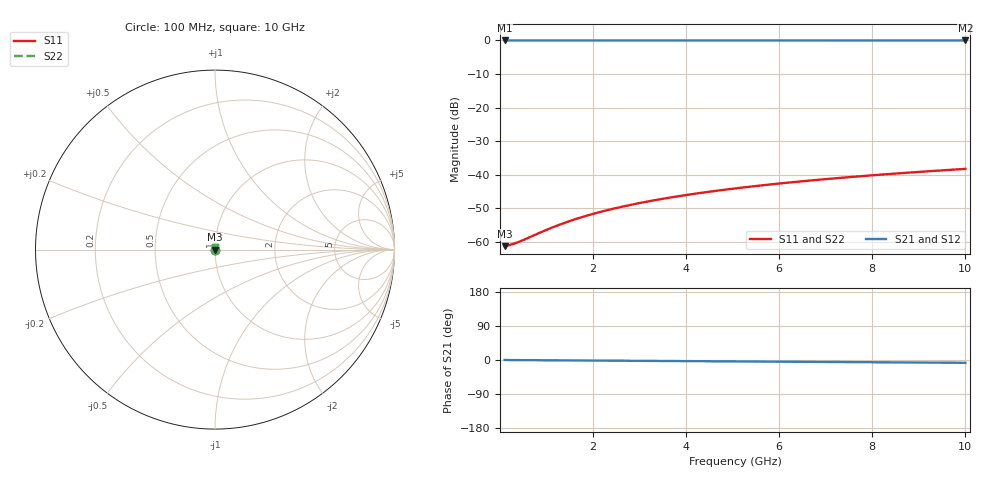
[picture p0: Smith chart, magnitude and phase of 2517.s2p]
# Hz S RI R 50.00
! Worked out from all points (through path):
!   100 points, 100 MHz to 10 GHz, reference 50 ohm
!   highest |S21| = -0.01 dB at 100 MHz (marker M1); lowest = 0.0 dB at 10 GHz (marker M2)
!   group delay of S21, straight-line fit = 2.06 ps
!   lowest |S11| = -61.3 dB at 100 MHz (marker M3), VSWR 1.00, Z = 50.1 + j0.0121 ohm
!   |S11| at or under -10 dB: start of sweep to end of sweep
!   |S22| runs from -61.3 to -38.3 dB; largest |S21 - S12| = 0
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1e8  0.000848 0.000121  0.9991 -0.00129  0.9991 -0.00129  0.000848 0.000121
2e8  0.000853 0.000242  0.9991 -0.00257  0.9991 -0.00257  0.000853 0.000242
3e8  0.000858 0.000363  0.9991 -0.00386  0.9991 -0.00386  0.000858 0.000363
4e8  0.000862 0.000484  0.9991 -0.00515  0.9991 -0.00515  0.000862 0.000484
9e8  0.000881 0.00109  0.9991 -0.0116  0.9991 -0.0116  0.000881 0.00109
1.2e9  0.000895 0.00145  0.999 -0.0154  0.999 -0.0154  0.000895 0.00145
1.5e9  0.00091 0.00181  0.9989 -0.0193  0.9989 -0.0193  0.00091 0.00181
1.8e9  0.000928 0.00217  0.9988 -0.0232  0.9988 -0.0232  0.000928 0.00217
2.1e9  0.000949 0.00254  0.9987 -0.027  0.9987 -0.027  0.000949 0.00254
2.5e9  0.00098 0.00302  0.9986 -0.0322  0.9986 -0.0322  0.00098 0.00302
2.9e9  0.00102 0.0035  0.9984 -0.0373  0.9984 -0.0373  0.00102 0.0035
3.4e9  0.00107 0.0041  0.9981 -0.0438  0.9981 -0.0438  0.00107 0.0041
3.8e9  0.00111 0.00458  0.9979 -0.0489  0.9979 -0.0489  0.00111 0.00458
4.2e9  0.00117 0.00506  0.9976 -0.0541  0.9976 -0.0541  0.00117 0.00506
4.6e9  0.00122 0.00554  0.9973 -0.0592  0.9973 -0.0592  0.00122 0.00554
5.1e9  0.0013 0.00613  0.9969 -0.0656  0.9969 -0.0656  0.0013 0.00613
5.9e9  0.00144 0.00708  0.9961 -0.0759  0.9961 -0.0759  0.00144 0.00708
6.7e9  0.0016 0.00803  0.9953 -0.0862  0.9953 -0.0862  0.0016 0.00803
7.5e9  0.00178 0.00898  0.9943 -0.0965  0.9943 -0.0965  0.00178 0.00898
8.4e9  0.002 0.01  0.9931 -0.1081  0.9931 -0.1081  0.002 0.01
9.2e9  0.00223 0.011  0.9919 -0.1184  0.9919 -0.1184  0.00223 0.011
1e10  0.00247 0.0119  0.9906 -0.1287  0.9906 -0.1287  0.00247 0.0119
